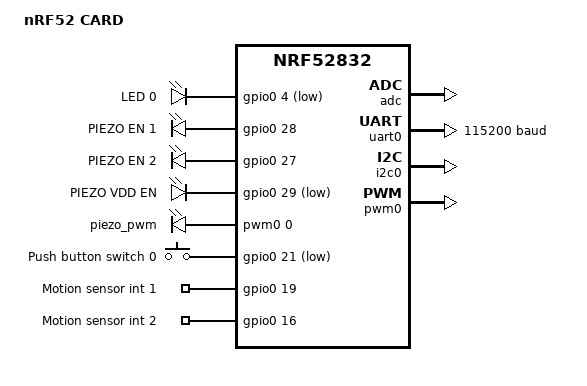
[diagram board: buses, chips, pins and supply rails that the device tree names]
/*
 * Copyright (c) 2017 Shawn Nock <shawn@monadnock.ca>
 * Copyright (c) 2017 Linaro Limited
 *
 * SPDX-License-Identifier: Apache-2.0
 */

/dts-v1/;
#include <nordic/nrf52832_qfaa.dtsi>
#include "nrf52_card-pinctrl.dtsi"

/ {
	model = "nRF52 CARD";
	compatible = "nordic,nrf52-card";

	chosen {
		zephyr,console = &uart0;
		zephyr,shell-uart = &uart0;
		zephyr,uart-mcumgr = &uart0;
		zephyr,bt-mon-uart = &uart0;
		zephyr,bt-c2h-uart = &uart0;
		zephyr,sram = &sram0;
		zephyr,flash = &flash0;
		zephyr,code-partition = &slot0_partition;
	};

	leds {
		compatible = "gpio-leds";
		led0: led_0 {
			gpios = <&gpio0 4 GPIO_ACTIVE_LOW>;
			label = "LED 0";
		};
		piezo_en1: piezo_en_1 {
			gpios = <&gpio0 28 GPIO_ACTIVE_HIGH>;
			label = "PIEZO EN 1";
		};
		piezo_en2: piezo_en_2 {
			gpios = <&gpio0 27 GPIO_ACTIVE_HIGH>;
			label = "PIEZO EN 2";
		};
		piezo_en_vdd: piezo_en_vdd {
			gpios = <&gpio0 29 GPIO_ACTIVE_LOW>;
			label = "PIEZO VDD EN";
		};
	};

	pwmleds {
		compatible = "pwm-leds";
		piezo_pwm: piezo_pwm_0 {
			pwms = <&pwm0 0 PWM_MSEC(20) PWM_POLARITY_NORMAL>;
		};
	};

	buttons {
		compatible = "gpio-keys";
		button0: button_0 {
			gpios = <&gpio0 21 (GPIO_PULL_UP | GPIO_ACTIVE_LOW)>;
			label = "Push button switch 0";
		};
		motion_int1: motion_int_1 {
			gpios = <&gpio0 19 GPIO_ACTIVE_HIGH>;
			label = "Motion sensor int 1";
		};
		motion_int2: motion_int_2 {
			gpios = <&gpio0 16 GPIO_ACTIVE_HIGH>;
			label = "Motion sensor int 2";
		};
	};

	/* These aliases are provided for compatibility with samples */
	aliases {
		led0 = &led0;
		piezo-en1 = &piezo_en1;
		piezo-en2 = &piezo_en2;
		piezo-en-vdd = &piezo_en_vdd;
		piezo-pwm = &piezo_pwm;
		motion-int1 = &motion_int1;		
		motion-int2 = &motion_int2;
		sw0 = &button0;
		watchdog0 = &wdt0;
	};
};

&adc {
	status = "okay";
};

&gpiote {
	status = "okay";
};

&gpio0 {
	status = "okay";
};

&uart0 {
	status = "okay";
	compatible = "nordic,nrf-uarte";
	current-speed = <115200>;
	pinctrl-0 = <&uart0_default>;
	pinctrl-1 = <&uart0_sleep>;
	pinctrl-names = "default", "sleep";
};

&i2c0 {
	compatible = "nordic,nrf-twi";
	status = "okay";
	pinctrl-0 = <&i2c0_default>;
	pinctrl-1 = <&i2c0_sleep>;
	pinctrl-names = "default", "sleep";
};

&pwm0 {
	status = "okay";
	pinctrl-0 = <&pwm0_default>;
	pinctrl-1 = <&pwm0_sleep>;
	pinctrl-names = "default", "sleep";
};

&flash0 {

	partitions {
		compatible = "fixed-partitions";
		#address-cells = <1>;
		#size-cells = <1>;

		boot_partition: partition@0 {
			label = "mcuboot";
			reg = <0x00000000 0xc000>;
		};
		slot0_partition: partition@c000 {
			label = "image-0";
			reg = <0x0000C000 0x32000>;
		};
		slot1_partition: partition@3e000 {
			label = "image-1";
			reg = <0x0003E000 0x32000>;
		};
		scratch_partition: partition@70000 {
			label = "image-scratch";
			reg = <0x00070000 0xa000>;
		};
		storage_partition: partition@7a000 {
			label = "storage";
			reg = <0x0007a000 0x00006000>;
		};
	};
};
